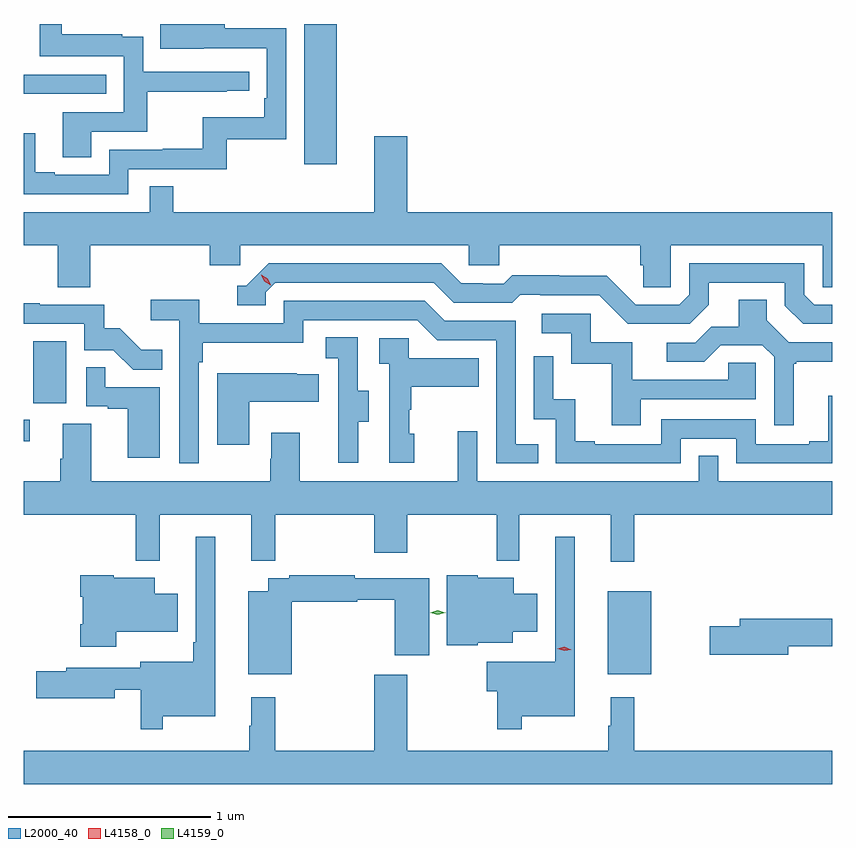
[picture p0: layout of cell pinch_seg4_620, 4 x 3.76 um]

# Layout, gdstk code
import gdstk
lib = gdstk.Library(unit=1e-6, precision=1e-09)
def R(c, l, rs):  # rectangles x0, y0, x1, y1
    for r in rs: c.add(gdstk.rectangle(r[:2], r[2:], *l))
def P(c, l, *ps):  # polygons
    for p in ps: c.add(gdstk.Polygon(p, *l))
L2000_40 = (2000, 40)
L4158_0 = (4158, 0)
L4159_0 = (4159, 0)

pinch_seg4_620 = lib.new_cell('pinch_seg4_620')
R(pinch_seg4_620, L2000_40, [(1029.299,754.739,1029.514,755.149), (1026.411,755.892,1026.442,755.997), (1026.458,756.078,1026.622,756.385), (1027.799,757.26,1027.96,757.954), (1026.411,757.608,1026.821,757.704)])
P(pinch_seg4_620, L2000_40, [(1026.93,757.236),(1027.417,757.236),(1027.417,757.383),(1027.71,757.383),(1027.71,757.934),(1027.405,757.934),(1027.405,757.954),(1027.087,757.954),(1027.087,757.832),(1027.301,757.832),(1027.301,757.833),(1027.614,757.833),(1027.614,757.588),(1027.601,757.588),(1027.601,757.492),(1027.296,757.492),(1027.296,757.337),(1027.099,757.337),(1027.099,757.332),(1026.834,757.332),(1026.834,757.209),(1026.565,757.209),(1026.565,757.222),(1026.469,757.222),(1026.469,757.415),(1026.411,757.415),(1026.411,757.113),(1026.93,757.113)],
  [(1026.745,757.422),(1027.022,757.422),(1027.022,757.618),(1027.415,757.618),(1027.415,757.623),(1027.528,757.623),(1027.528,757.719),(1027.002,757.719),(1027.002,757.891),(1026.899,757.891),(1026.899,757.903),(1026.601,757.903),(1026.601,757.954),(1026.49,757.954),(1026.49,757.794),(1026.906,757.794),(1026.906,757.518),(1026.605,757.518),(1026.605,757.294),(1026.745,757.294)],
  [(1026.74,756.86),(1027.331,756.86),(1027.331,756.762),(1027.482,756.762),(1027.482,756.86),(1028.613,756.86),(1028.613,756.762),(1028.763,756.762),(1028.763,756.86),(1029.461,756.86),(1029.461,756.762),(1029.475,756.762),(1029.475,756.652),(1029.612,756.652),(1029.612,756.86),(1030.362,756.86),(1030.362,756.652),(1030.411,756.652),(1030.411,757.024),(1028.308,757.024),(1028.308,757.399),(1028.144,757.399),(1028.144,757.024),(1027.151,757.024),(1027.151,757.151),(1027.035,757.151),(1027.035,757.024),(1026.411,757.024),(1026.411,756.86),(1026.58,756.86),(1026.58,756.652),(1026.74,756.652)],
  [(1029.799,756.565),(1029.799,756.675),(1030.176,756.675),(1030.176,756.561),(1030.266,756.471),(1030.411,756.471),(1030.411,756.567),(1030.32,756.567),(1030.272,756.615),(1030.272,756.771),(1029.702,756.771),(1029.702,756.615),(1029.654,756.567),(1029.438,756.567),(1029.296,756.709),(1029.06,756.709),(1029.06,756.712),(1028.827,756.712),(1028.785,756.669),(1028.682,756.669),(1028.682,756.672),(1028.575,756.672),(1028.476,756.771),(1027.623,756.771),(1027.512,756.66),(1027.469,756.66),(1027.469,756.564),(1027.608,756.564),(1027.608,756.627),(1027.656,756.675),(1028.439,756.675),(1028.538,756.576),(1028.827,756.576),(1028.866,756.615),(1028.965,756.615),(1028.965,756.612),(1029.258,756.612),(1029.399,756.471),(1029.705,756.471)],
  [(1030.219,756.273),(1030.231,756.273),(1030.231,756.284),(1030.411,756.284),(1030.411,756.381),(1030.194,756.381),(1030.087,756.488),(1030.087,756.59),(1029.947,756.59),(1029.947,756.458),(1029.812,756.458),(1029.732,756.378),(1029.591,756.378),(1029.591,756.285),(1029.778,756.285),(1029.859,756.366),(1030.065,756.366),(1030.122,756.309),(1030.122,755.97),(1030.219,755.97)],
  [(1027.278,756.281),(1027.298,756.281),(1027.298,756.377),(1027.794,756.377),(1027.794,756.489),(1028.358,756.489),(1028.457,756.39),(1028.748,756.39),(1028.748,755.781),(1028.957,755.781),(1028.957,755.877),(1028.844,755.877),(1028.844,756.486),(1028.494,756.486),(1028.395,756.585),(1027.698,756.585),(1027.698,756.474),(1027.28,756.474),(1027.28,756.59),(1027.041,756.59),(1027.041,756.488),(1027.182,756.488),(1027.182,755.781),(1027.278,755.781)],
  [(1027.097,756.343),(1026.993,756.343),(1026.886,756.45),(1026.81,756.45),(1026.81,756.567),(1026.491,756.567),(1026.491,756.572),(1026.411,756.572),(1026.411,756.471),(1026.711,756.471),(1026.711,756.342),(1026.855,756.342),(1026.953,756.244),(1027.097,756.244)],
  [(1029.463,756.099),(1030.032,756.099),(1030.032,756.279),(1029.895,756.279),(1029.895,756.195),(1029.421,756.195),(1029.421,756.381),(1029.216,756.381),(1029.216,756.522),(1028.973,756.522),(1028.973,756.426),(1029.12,756.426),(1029.12,756.273),(1029.319,756.273),(1029.319,755.97),(1029.463,755.97)],
  [(1028.065,755.986),(1028.119,755.986),(1028.119,756.141),(1028.064,756.141),(1028.064,756.404),(1027.905,756.404),(1027.905,756.301),(1027.968,756.301),(1027.968,755.997),(1027.967,755.997),(1027.967,755.784),(1028.065,755.784)],
  [(1028.344,755.928),(1028.319,755.928),(1028.319,756.047),(1028.329,756.047),(1028.329,756.161),(1028.663,756.161),(1028.663,756.301),(1028.316,756.301),(1028.316,756.399),(1028.169,756.399),(1028.169,756.275),(1028.22,756.275),(1028.22,755.784),(1028.344,755.784)],
  [(1029.66,755.904),(1029.936,755.904),(1029.936,755.781),(1030.411,755.781),(1030.411,756.115),(1030.391,756.115),(1030.391,755.89),(1030.295,755.89),(1030.295,755.877),(1030.032,755.877),(1030.032,756),(1029.564,756),(1029.564,755.877),(1029.235,755.877),(1029.235,755.89),(1029.14,755.89),(1029.14,756.098),(1029.03,756.098),(1029.03,756.31),(1028.934,756.31),(1028.934,756),(1029.042,756),(1029.042,755.781),(1029.66,755.781)],
  [(1027.084,756.159),(1026.815,756.159),(1026.815,756.257),(1026.72,756.257),(1026.72,756.063),(1026.827,756.063),(1026.827,756.051),(1026.926,756.051),(1026.926,755.808),(1027.084,755.808)],
  [(1027.528,756.086),(1027.871,756.086),(1027.871,756.223),(1027.763,756.223),(1027.763,756.226),(1027.37,756.226),(1027.37,755.874),(1027.528,755.874)],
  [(1029.431,755.528),(1030.411,755.528),(1030.411,755.692),(1029.846,755.692),(1029.846,755.819),(1029.75,755.819),(1029.75,755.692),(1028.655,755.692),(1028.655,755.941),(1028.558,755.941),(1028.558,755.692),(1027.777,755.692),(1027.777,755.932),(1027.637,755.932),(1027.637,755.804),(1027.63,755.804),(1027.63,755.692),(1026.745,755.692),(1026.745,755.978),(1026.605,755.978),(1026.605,755.804),(1026.593,755.804),(1026.593,755.692),(1026.411,755.692),(1026.411,755.528),(1026.967,755.528),(1026.967,755.3),(1027.085,755.3),(1027.085,755.528),(1027.538,755.528),(1027.538,755.299),(1027.655,755.299),(1027.655,755.528),(1028.144,755.528),(1028.144,755.34),(1028.308,755.34),(1028.308,755.528),(1028.751,755.528),(1028.751,755.3),(1028.861,755.3),(1028.861,755.528),(1029.314,755.528),(1029.314,755.295),(1029.431,755.295)],
  [(1027.099,754.532),(1027.36,754.532),(1027.36,755.419),(1027.263,755.419),(1027.263,754.897),(1027.251,754.897),(1027.251,754.801),(1026.989,754.801),(1026.989,754.77),(1026.623,754.77),(1026.623,754.754),(1026.474,754.754),(1026.474,754.619),(1026.862,754.619),(1026.862,754.662),(1026.99,754.662),(1026.99,754.467),(1027.099,754.467)],
  [(1028.875,754.532),(1029.136,754.532),(1029.136,755.419),(1029.039,755.419),(1029.039,754.801),(1028.702,754.801),(1028.702,754.654),(1028.754,754.654),(1028.754,754.467),(1028.875,754.467)],
  [(1026.87,754.949),(1027.174,754.949),(1027.174,755.137),(1027.06,755.137),(1027.06,755.215),(1026.858,755.215),(1026.858,755.227),(1026.692,755.227),(1026.692,755.123),(1026.704,755.123),(1026.704,754.987),(1026.692,754.987),(1026.692,754.875),(1026.87,754.875)],
  [(1027.738,755.098),(1028.062,755.098),(1028.062,755.106),(1028.246,755.106),(1028.246,754.833),(1028.416,754.833),(1028.416,755.214),(1028.048,755.214),(1028.048,755.227),(1027.726,755.227),(1027.726,755.214),(1027.622,755.214),(1027.622,755.149),(1027.523,755.149),(1027.523,754.739),(1027.738,754.739)],
  [(1028.658,754.895),(1028.83,754.895),(1028.83,754.949),(1028.95,754.949),(1028.95,755.137),(1028.836,755.137),(1028.836,755.215),(1028.658,755.215),(1028.658,755.227),(1028.504,755.227),(1028.504,754.883),(1028.658,754.883)],
  [(1030.192,754.876),(1030.411,754.876),(1030.411,755.012),(1029.953,755.012),(1029.953,754.976),(1029.804,754.976),(1029.804,754.834),(1030.192,754.834)],
  [(1030.411,754.36),(1029.431,754.36),(1029.431,754.624),(1029.314,754.624),(1029.314,754.484),(1029.303,754.484),(1029.303,754.36),(1028.308,754.36),(1028.308,754.735),(1028.144,754.735),(1028.144,754.36),(1027.655,754.36),(1027.655,754.624),(1027.538,754.624),(1027.538,754.484),(1027.527,754.484),(1027.527,754.36),(1026.411,754.36),(1026.411,754.196),(1030.411,754.196)])
P(pinch_seg4_620, L4158_0, [(1027.633,756.662),(1027.602,756.682),(1027.587,756.714),(1027.587,756.715),(1027.587,756.715),(1027.618,756.695),(1027.633,756.662),(1027.633,756.662)],
  [(1029.084,754.854),(1029.05,754.866),(1029.049,754.866),(1029.05,754.866),(1029.085,754.874),(1029.12,754.861),(1029.12,754.861),(1029.12,754.861)])
P(pinch_seg4_620, L4159_0, [(1028.46,755.034),(1028.422,755.044),(1028.421,755.044),(1028.422,755.044),(1028.46,755.054),(1028.497,755.044),(1028.498,755.044),(1028.497,755.044)])

lib.write_gds('pinch_seg4_620.gds')
